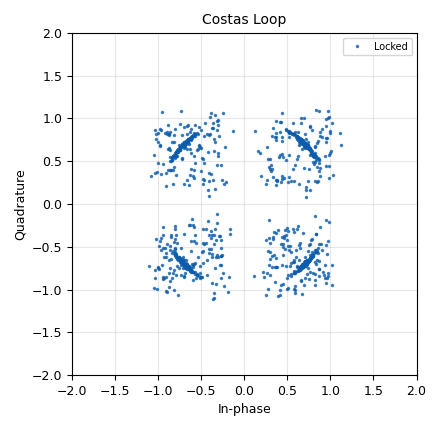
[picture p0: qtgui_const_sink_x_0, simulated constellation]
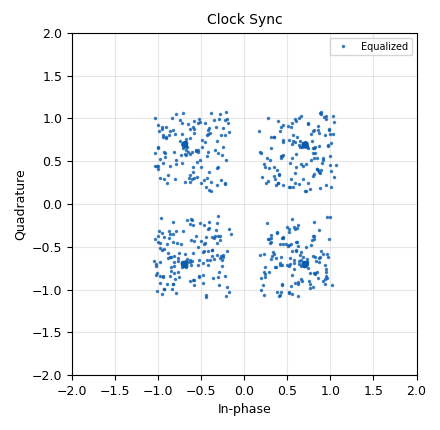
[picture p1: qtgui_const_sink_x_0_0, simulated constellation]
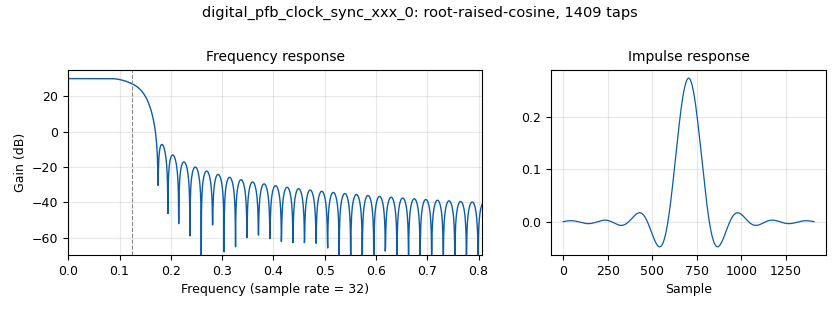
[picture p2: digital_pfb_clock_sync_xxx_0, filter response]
options:
  parameters:
    author: Barry Duggan
    generate_options: qt_gui
    id: cfo_model
    output_language: python
    title: cfo_model
  states: {}

blocks:
- name: cfo_sdev
  id: variable_qtgui_range
  parameters:
    label: CFO Standard Dev
    start: '0.0'
    step: '0.002'
    stop: '0.03'
    value: '0.0'
  states: {}
- name: excess_bw
  id: variable
  parameters:
    value: '0.35'
  states: {}
- name: nfilts
  id: variable
  parameters:
    value: '32'
  states: {}
- name: phase_bw
  id: variable_qtgui_range
  parameters:
    label: 'Phase: Bandwidth'
    start: '0.0'
    step: '0.01'
    stop: '1.0'
    value: 6.28/100.0
    widget: slider
  states: {}
- name: qpsk
  id: variable_constellation_rect
  parameters:
    const_points: '[0.707+0.707j, -0.707+0.707j, -0.707-0.707j, 0.707-0.707j]'
    imag_sect: '2'
    real_sect: '2'
    rot_sym: '4'
    sym_map: '[0, 1, 2, 3]'
    w_imag_sect: '1'
    w_real_sect: '1'
  states: {}
- name: rrc_taps
  id: variable
  parameters:
    value: firdes.root_raised_cosine(nfilts, nfilts, 1.0/float(sps), 0.35, 11*sps*nfilts)
  states: {}
- name: samp_rate
  id: variable
  parameters:
    value: '32000'
  states: {}
- name: sps
  id: variable
  parameters:
    value: '4'
  states: {}
- name: timing_loop_bw
  id: variable_qtgui_range
  parameters:
    label: 'Time: BW'
    start: '0.0'
    step: '0.01'
    stop: '0.2'
    value: 6.28/100.0
    widget: slider
  states: {}
- name: analog_random_source_x_0
  id: analog_random_source_x
  parameters:
    max: '256'
    min: '0'
    num_samps: '10000'
    repeat: 'True'
    type: byte
  states: {}
- name: blocks_throttle_0
  id: blocks_throttle
  parameters:
    samples_per_second: samp_rate
    type: complex
  states: {}
- name: channels_cfo_model_0
  id: channels_cfo_model
  parameters:
    maxdev: 1e3
    seed: '0'
    srate: samp_rate
    stdev: cfo_sdev
  states: {}
- name: digital_constellation_modulator_0
  id: digital_constellation_modulator
  parameters:
    constellation: qpsk
    differential: 'True'
    excess_bw: excess_bw
    samples_per_symbol: sps
  states: {}
- name: digital_costas_loop_cc_0
  id: digital_costas_loop_cc
  parameters:
    order: '4'
    w: phase_bw
  states: {}
- name: digital_pfb_clock_sync_xxx_0
  id: digital_pfb_clock_sync_xxx
  parameters:
    filter_size: nfilts
    init_phase: nfilts/2
    loop_bw: timing_loop_bw
    max_dev: '1.5'
    osps: '2'
    sps: sps
    taps: rrc_taps
    type: ccf
  states: {}
- name: qtgui_const_sink_x_0
  id: qtgui_const_sink_x
  parameters:
    alpha1: '0.6'
    gui_hint: 1,1,1,1
    label1: Locked
    name: Costas Loop
    size: '1024'
    type: complex
  states: {}
- name: qtgui_const_sink_x_0_0
  id: qtgui_const_sink_x
  parameters:
    alpha1: '0.6'
    gui_hint: 1,0,1,1
    label1: Equalized
    name: Clock Sync
    size: '1024'
    type: complex
  states: {}
- name: virtual_sink_0
  id: virtual_sink
  parameters:
    stream_id: r1
  states: {}
- name: virtual_source_0
  id: virtual_source
  parameters:
    stream_id: r1
  states: {}

connections:
- [analog_random_source_x_0, '0', digital_constellation_modulator_0, '0']
- [blocks_throttle_0, '0', channels_cfo_model_0, '0']
- [channels_cfo_model_0, '0', digital_pfb_clock_sync_xxx_0, '0']
- [digital_constellation_modulator_0, '0', blocks_throttle_0, '0']
- [digital_costas_loop_cc_0, '0', qtgui_const_sink_x_0, '0']
- [digital_pfb_clock_sync_xxx_0, '0', qtgui_const_sink_x_0_0, '0']
- [digital_pfb_clock_sync_xxx_0, '0', virtual_sink_0, '0']
- [virtual_source_0, '0', digital_costas_loop_cc_0, '0']

metadata:
  file_format: 1
